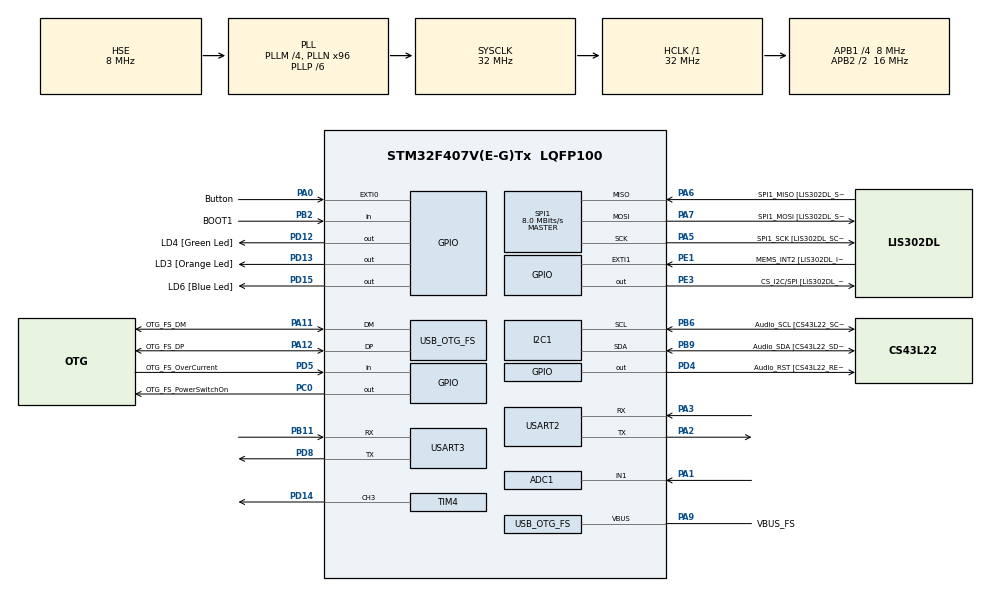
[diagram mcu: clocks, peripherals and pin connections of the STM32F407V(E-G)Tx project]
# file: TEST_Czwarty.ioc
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ADC1.Channel-0\#ChannelRegularConversion=ADC_CHANNEL_1
ADC1.ContinuousConvMode=DISABLE
ADC1.ExternalTrigConv=ADC_EXTERNALTRIGCONV_T3_TRGO
ADC1.NbrOfConversion=1
ADC1.NbrOfConversionFlag=1
ADC1.Rank-0\#ChannelRegularConversion=1
ADC1.SamplingTime-0\#ChannelRegularConversion=ADC_SAMPLETIME_480CYCLES
ADC1.master=1
FREERTOS.Queues01=Console_Rx,16,char,0,Dynamic,NULL,NULL
FREERTOS.Tasks01=defaultTask,0,128,StartDefaultTask,Default,NULL,Dynamic,NULL,NULL;Console_service,-2,256,Console_service_start,Default,NULL,Dynamic,NULL,NULL;ADC_service,0,256,ADC_service_start,Default,NULL,Dynamic,NULL,NULL
Mcu.Family=STM32F4
Mcu.Name=STM32F407V(E-G)Tx
Mcu.Package=LQFP100
NVIC.ADC_IRQn=true\:5\:0\:false\:false\:true\:true\:true\:true
NVIC.EXTI0_IRQn=true\:5\:0\:false\:false\:true\:true\:true\:true
NVIC.OTG_FS_IRQn=true\:5\:0\:false\:false\:true\:true\:true\:true
NVIC.PriorityGroup=NVIC_PRIORITYGROUP_4
NVIC.RCC_IRQn=true\:5\:0\:false\:false\:true\:true\:true\:false
NVIC.TIM3_IRQn=true\:5\:0\:false\:false\:true\:true\:true\:true
NVIC.TIM4_IRQn=true\:5\:0\:false\:false\:true\:true\:true\:true
NVIC.USART2_IRQn=true\:5\:0\:false\:false\:true\:true\:true\:true
NVIC.USART3_IRQn=true\:5\:0\:false\:false\:true\:true\:true\:true
PA0-WKUP.GPIO_Label=Button
PA0-WKUP.Signal=GPXTI0
PA1.Signal=ADCx_IN1
PA10.GPIO_Label=OTG_FS_ID
PA10.GPIO_Mode=GPIO_MODE_AF_PP
PA10.GPIO_PuPd=GPIO_NOPULL
PA10.GPIO_Speed=GPIO_SPEED_FREQ_LOW
PA10.Signal=USB_OTG_FS_ID
PA11.GPIO_Label=OTG_FS_DM
PA11.GPIO_Mode=GPIO_MODE_AF_PP
PA11.GPIO_PuPd=GPIO_NOPULL
PA11.GPIO_Speed=GPIO_SPEED_FREQ_LOW
PA11.Mode=Device_Only
PA11.Signal=USB_OTG_FS_DM
PA12.GPIO_Label=OTG_FS_DP
PA12.GPIO_Mode=GPIO_MODE_AF_PP
PA12.GPIO_PuPd=GPIO_NOPULL
PA12.GPIO_Speed=GPIO_SPEED_FREQ_LOW
PA12.Mode=Device_Only
PA12.Signal=USB_OTG_FS_DP
PA13.GPIO_Label=SWDIO
PA13.Mode=Serial_Wire
PA13.Signal=SYS_JTMS-SWDIO
PA14.GPIO_Label=SWCLK
PA14.Mode=Serial_Wire
PA14.Signal=SYS_JTCK-SWCLK
PA2.Mode=Asynchronous
PA2.Signal=USART2_TX
PA3.Mode=Asynchronous
PA3.Signal=USART2_RX
PA4.GPIO_Label=I2S3_WS [CS43L22_LRCK]
PA4.GPIO_Mode=GPIO_MODE_AF_PP
PA4.GPIO_PuPd=GPIO_NOPULL
PA4.GPIO_Speed=GPIO_SPEED_FREQ_LOW
PA4.Signal=I2S3_WS
PA5.GPIO_Label=SPI1_SCK [LIS302DL_SCL/SPC]
PA5.GPIO_Mode=GPIO_MODE_AF_PP
PA5.GPIO_PuPd=GPIO_NOPULL
PA5.GPIO_Speed=GPIO_SPEED_FREQ_LOW
PA5.Mode=Full_Duplex_Master
PA5.Signal=SPI1_SCK
PA6.GPIO_Label=SPI1_MISO [LIS302DL_SDO]
PA6.GPIO_Mode=GPIO_MODE_AF_PP
PA6.GPIO_PuPd=GPIO_NOPULL
PA6.GPIO_Speed=GPIO_SPEED_FREQ_LOW
PA6.Mode=Full_Duplex_Master
PA6.Signal=SPI1_MISO
PA7.GPIO_Label=SPI1_MOSI [LIS302DL_SDA/SDI/SDO]
PA7.GPIO_Mode=GPIO_MODE_AF_PP
PA7.GPIO_PuPd=GPIO_NOPULL
PA7.GPIO_Speed=GPIO_SPEED_FREQ_LOW
PA7.Mode=Full_Duplex_Master
PA7.Signal=SPI1_MOSI
PA9.GPIO_Label=VBUS_FS
PA9.GPIO_Mode=GPIO_MODE_INPUT
PA9.GPIO_PuPd=GPIO_NOPULL
PA9.Mode=Activate_VBUS
PA9.Signal=USB_OTG_FS_VBUS
PB10.GPIO_Label=CLK_IN [MP45DT02_CLK]
PB10.GPIO_Mode=GPIO_MODE_AF_PP
PB10.GPIO_PuPd=GPIO_NOPULL
PB10.GPIO_Speed=GPIO_SPEED_FREQ_LOW
PB10.Signal=I2S2_CK
PB11.Mode=Asynchronous
PB11.Signal=USART3_RX
PB2.GPIO_Label=BOOT1
PB2.GPIO_Mode=GPIO_MODE_INPUT
PB2.GPIO_PuPd=GPIO_NOPULL
PB2.Signal=GPIO_Input
PB3.GPIO_Label=SWO
PB3.Signal=SYS_JTDO-SWO
PB6.GPIO_Label=Audio_SCL [CS43L22_SCL]
PB6.GPIO_Mode=GPIO_MODE_AF_OD
PB6.GPIO_PuPd=GPIO_NOPULL
PB6.GPIO_Speed=GPIO_SPEED_FREQ_LOW
PB6.Mode=I2C
PB6.Signal=I2C1_SCL
PB9.GPIO_Label=Audio_SDA [CS43L22_SDA]
PB9.GPIO_Mode=GPIO_MODE_AF_OD
PB9.GPIO_PuPd=GPIO_NOPULL
PB9.GPIO_Speed=GPIO_SPEED_FREQ_LOW
PB9.Mode=I2C
PB9.Signal=I2C1_SDA
PC0.GPIO_Label=OTG_FS_PowerSwitchOn
PC0.GPIO_PuPd=GPIO_NOPULL
PC0.GPIO_Speed=GPIO_SPEED_FREQ_LOW
PC0.PinState=GPIO_PIN_SET
PC0.Signal=GPIO_Output
PC10.GPIO_Label=I2S3_SCK [CS43L22_SCLK]
PC10.GPIO_Mode=GPIO_MODE_AF_PP
PC10.GPIO_PuPd=GPIO_NOPULL
PC10.GPIO_Speed=GPIO_SPEED_FREQ_LOW
PC10.Signal=I2S3_CK
PC12.GPIO_Label=I2S3_SD [CS43L22_SDIN]
PC12.GPIO_Mode=GPIO_MODE_AF_PP
PC12.GPIO_PuPd=GPIO_NOPULL
PC12.GPIO_Speed=GPIO_SPEED_FREQ_LOW
PC12.Signal=I2S3_SD
PC14-OSC32_IN.GPIO_Label=PC14-OSC32_IN
PC14-OSC32_IN.Signal=RCC_OSC32_IN
PC15-OSC32_OUT.GPIO_Label=PC15-OSC32_OUT
PC15-OSC32_OUT.Signal=RCC_OSC32_OUT
PC3.GPIO_Label=PDM_OUT [MP45DT02_DOUT]
PC3.GPIO_Mode=GPIO_MODE_AF_PP
PC3.GPIO_PuPd=GPIO_NOPULL
PC3.GPIO_Speed=GPIO_SPEED_FREQ_LOW
PC3.Signal=I2S2_SD
PC7.GPIO_Label=I2S3_MCK [CS43L22_MCLK]
PC7.GPIO_Mode=GPIO_MODE_AF_PP
PC7.GPIO_PuPd=GPIO_NOPULL
PC7.GPIO_Speed=GPIO_SPEED_FREQ_LOW
PC7.Signal=I2S3_MCK
PD12.GPIO_Label=LD4 [Green Led]
PD12.GPIO_PuPd=GPIO_NOPULL
PD12.GPIO_Speed=GPIO_SPEED_FREQ_LOW
PD12.Signal=GPIO_Output
PD13.GPIO_Label=LD3 [Orange Led]
PD13.GPIO_PuPd=GPIO_NOPULL
PD13.GPIO_Speed=GPIO_SPEED_FREQ_LOW
PD13.Signal=GPIO_Output
PD14.Signal=S_TIM4_CH3
PD15.GPIO_Label=LD6 [Blue Led]
PD15.GPIO_PuPd=GPIO_NOPULL
PD15.GPIO_Speed=GPIO_SPEED_FREQ_LOW
PD15.Signal=GPIO_Output
PD4.GPIO_Label=Audio_RST [CS43L22_RESET]
PD4.GPIO_PuPd=GPIO_NOPULL
PD4.GPIO_Speed=GPIO_SPEED_FREQ_LOW
PD4.Signal=GPIO_Output
PD5.GPIO_Label=OTG_FS_OverCurrent
PD5.GPIO_Mode=GPIO_MODE_INPUT
PD5.GPIO_PuPd=GPIO_NOPULL
PD5.Signal=GPIO_Input
PD8.Mode=Asynchronous
PD8.Signal=USART3_TX
PE1.GPIO_Label=MEMS_INT2 [LIS302DL_INT2]
PE1.GPIO_ModeDefaultEXTI=GPIO_MODE_EVT_RISING
PE1.GPIO_PuPd=GPIO_NOPULL
PE1.Signal=GPXTI1
PE3.GPIO_Label=CS_I2C/SPI [LIS302DL_CS_I2C/SPI]
PE3.GPIO_PuPd=GPIO_NOPULL
PE3.GPIO_Speed=GPIO_SPEED_FREQ_LOW
PE3.Signal=GPIO_Output
PH0-OSC_IN.GPIO_Label=PH0-OSC_IN
PH0-OSC_IN.Mode=HSE-External-Oscillator
PH0-OSC_IN.Signal=RCC_OSC_IN
PH1-OSC_OUT.GPIO_Label=PH1-OSC_OUT
PH1-OSC_OUT.Mode=HSE-External-Oscillator
PH1-OSC_OUT.Signal=RCC_OSC_OUT
ProjectManager.HeapSize=0x200
ProjectManager.StackSize=0x400
ProjectManager.TargetToolchain=STM32CubeIDE
RCC.48MHZClocksFreq_Value=48000000
RCC.AHBFreq_Value=32000000
RCC.APB1CLKDivider=RCC_HCLK_DIV4
RCC.APB1Freq_Value=8000000
RCC.APB1TimFreq_Value=16000000
RCC.APB2CLKDivider=RCC_HCLK_DIV2
RCC.APB2Freq_Value=16000000
RCC.APB2TimFreq_Value=32000000
RCC.CortexFreq_Value=32000000
RCC.HCLKFreq_Value=32000000
RCC.HSE_VALUE=8000000
RCC.HSI_VALUE=16000000
RCC.LSE_VALUE=32768
RCC.PLLI2SN=50
RCC.PLLM=4
RCC.PLLN=96
RCC.PLLP=RCC_PLLP_DIV6
RCC.SYSCLKFreq_VALUE=32000000
RCC.SYSCLKSource=RCC_SYSCLKSOURCE_PLLCLK
RCC.VCOOutputFreq_Value=192000000
SH.ADCx_IN1.0=ADC1_IN1,IN1
SH.S_TIM4_CH3.0=TIM4_CH3,PWM Generation3 CH3
SPI1.BaudRatePrescaler-Full_Duplex_Master=SPI_BAUDRATEPRESCALER_2
SPI1.CalculateBaudRate=8.0 MBits/s
SPI1.CalculateBaudRate-Full_Duplex_Master=42.0 MBits/s
SPI1.Direction=SPI_DIRECTION_2LINES
SPI1.Mode=SPI_MODE_MASTER
SPI1.Mode-Full_Duplex_Master=SPI_MODE_MASTER
SPI1.VirtualType=VM_MASTER
TIM3.Period=16
TIM3.Prescaler=99
TIM3.TIM_MasterOutputTrigger=TIM_TRGO_OC1
TIM4.Channel-PWM\ Generation3\ CH3=TIM_CHANNEL_3
TIM4.Period=100
TIM4.Prescaler=16
USART2.VirtualMode=VM_ASYNC
USART3.VirtualMode=VM_ASYNC
USB_DEVICE.CLASS_NAME_FS=CDC
USB_DEVICE.VirtualMode-CDC_FS=Cdc
USB_DEVICE.VirtualModeFS=Cdc_FS
USB_OTG_FS.VirtualMode=Device_Only
VP_FREERTOS_VS_CMSIS_V1.Mode=CMSIS_V1
VP_TIM3_VS_ClockSourceINT.Mode=Internal
VP_TIM4_VS_ClockSourceINT.Mode=Internal
VP_USB_DEVICE_VS_USB_DEVICE_CDC_FS.Mode=CDC_FS
board=STM32F4DISCOVERY

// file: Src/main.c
/* USER CODE BEGIN Header */
/**
  ******************************************************************************
  * @file           : main.c
  * @brief          : Main program body
  ******************************************************************************
  * @attention
  *
  * <h2><center>&copy; Copyright (c) 2019 STMicroelectronics.
  * All rights reserved.</center></h2>
  *
  * This software component is licensed by ST under Ultimate Liberty license
  * SLA0044, the "License"; You may not use this file except in compliance with
  * the License. You may obtain a copy of the License at:
  *                             www.st.com/SLA0044
  *
  ******************************************************************************
  */
/* USER CODE END Header */

#include "main.h"
#include "cmsis_os.h"
#include "usb_device.h"

/* USER CODE BEGIN Includes */

#include "usbd_cdc_if.h" // Plik bedacy interfejsem uzytkownika do kontrolera USB
#include "string.h"
#include "queue.h"

/* USER CODE END Includes */

ADC_HandleTypeDef hadc1;

I2C_HandleTypeDef hi2c1;

SPI_HandleTypeDef hspi1;

TIM_HandleTypeDef htim3;
TIM_HandleTypeDef htim4;

UART_HandleTypeDef huart2;
UART_HandleTypeDef huart3;

osThreadId defaultTaskHandle;
osThreadId Console_serviceHandle;
osThreadId Diode_ToggleHandle;
osMessageQId Console_RxHandle;

/* USER CODE BEGIN PV */
/* Private variables ---------------------------------------------------------*/

uint8_t MessageCounter = 0; // Licznik wyslanych wiadomosci
uint16_t MessageLength = 0; // Zawiera dlugosc wysylanej wiadomosci
uint8_t ReceivedData; // Tablica przechowujaca odebrane dane
//uint32_t ADC_Value = 0 ;  //Wartosc z przetwornika ADC1
//float Wynik_ADC = 0;	//Wartosc przeliczona na napiecie
//float Voltage_Limit = 2.96;  //Napiecie maskymalne ADC
//uint16_t ADC_Bits = 4096;   //Zakres przetwornika
uint32_t PWM_Control;    //Skala przeliczona z ADC
uint8_t cnt;

/* USER CODE END PV */

void SystemClock_Config(void);
static void MX_GPIO_Init(void);
static void MX_I2C1_Init(void);
static void MX_SPI1_Init(void);
static void MX_USART2_UART_Init(void);
static void MX_ADC1_Init(void);
static void MX_TIM4_Init(void);
static void MX_TIM3_Init(void);
static void MX_USART3_UART_Init(void);
void StartDefaultTask(void const * argument);
void Console_service_start(void const * argument);
void Diode_Toggle_start(void const * argument);

/* USER CODE BEGIN PFP */
/* Private function prototypes -----------------------------------------------*/

extern void initialise_monitor_handles(void);  // inicjalizacja semi-hostingu

void UART_Class_RC(uint8_t Data_RC);
void UART_Class_RUN();
void ADC_Transmit(uint32_t ADC_Value);

// Przerwanie_ADC - start pomiaru za pomoca Timera 3 - 100Hz
 void HAL_ADC_ConvCpltCallback(ADC_HandleTypeDef *hadc1) {

	ADC_Transmit(HAL_ADC_GetValue(hadc1));

	// Wynik_ADC = (((float)ADC_Value/ADC_Bits)*Voltage_Limit); //skalowanie w zakresie 0 - 3V
	 //PWM_Control = ((102*ADC_Value)/ADC_Bits); //zmiana wypelnienia w zakresie od 0 - 100 %

 }

 void HAL_UART_RxCpltCallback(UART_HandleTypeDef *huart) {

	 UART_Class_RC(ReceivedData);
	 HAL_UART_Receive_IT(&huart3, &ReceivedData, 1);

 }

/* USER CODE END PFP */

int main(void)
{

  /* MCU Configuration--------------------------------------------------------*/

  /* Reset of all peripherals, Initializes the Flash interface and the Systick. */
  HAL_Init();

  /* Configure the system clock */
  SystemClock_Config();

  /* Initialize all configured peripherals */
  MX_GPIO_Init();
  MX_I2C1_Init();
  MX_SPI1_Init();
  MX_USART2_UART_Init();
  MX_ADC1_Init();
  MX_TIM4_Init();
  MX_TIM3_Init();
  MX_USART3_UART_Init();
  /* USER CODE BEGIN 2 */

 initialise_monitor_handles();

 HAL_TIM_Base_Start_IT(&htim3);

 HAL_ADC_Start_IT(&hadc1);

 HAL_TIM_PWM_Start(&htim4, TIM_CHANNEL_3);

 HAL_UART_Receive_IT(&huart3, &ReceivedData, 1);

  /* USER CODE END 2 */

  /* Create the queue(s) */
  /* definition and creation of Console_Rx */

  /* Create the thread(s) */
  /* definition and creation of defaultTask */
  osThreadDef(defaultTask, StartDefaultTask, osPriorityNormal, 0, 128);
  defaultTaskHandle = osThreadCreate(osThread(defaultTask), NULL);

  /* definition and creation of Console_service */
  osThreadDef(Console_service, UART_Class_RUN, osPriorityLow, 0, 256);
  Console_serviceHandle = osThreadCreate(osThread(Console_service), NULL);

  /* definition and creation of Diode_Toggle */
  osThreadDef(Diode_Toggle, Diode_Toggle_start, osPriorityIdle, 0, 256);
  Diode_ToggleHandle = osThreadCreate(osThread(Diode_Toggle), NULL);

  /* Start scheduler */
  osKernelStart();

  /* We should never get here as control is now taken by the scheduler */

  /* Infinite loop */
	while (1) {

    /* USER CODE BEGIN 3 */

		htim4.Instance -> CCR3 = PWM_Control;

		HAL_Delay(100);

	}
  /* USER CODE END 3 */
}

void SystemClock_Config(void)
{
  RCC_OscInitTypeDef RCC_OscInitStruct = {0};
  RCC_ClkInitTypeDef RCC_ClkInitStruct = {0};

  /** Configure the main internal regulator output voltage
  */
  __HAL_RCC_PWR_CLK_ENABLE();
  __HAL_PWR_VOLTAGESCALING_CONFIG(PWR_REGULATOR_VOLTAGE_SCALE1);
  /** Initializes the CPU, AHB and APB busses clocks
  */
  RCC_OscInitStruct.OscillatorType = RCC_OSCILLATORTYPE_HSE;
  RCC_OscInitStruct.HSEState = RCC_HSE_ON;
  RCC_OscInitStruct.PLL.PLLState = RCC_PLL_ON;
  RCC_OscInitStruct.PLL.PLLSource = RCC_PLLSOURCE_HSE;
  RCC_OscInitStruct.PLL.PLLM = 4;
  RCC_OscInitStruct.PLL.PLLN = 96;
  RCC_OscInitStruct.PLL.PLLP = RCC_PLLP_DIV6;
  RCC_OscInitStruct.PLL.PLLQ = 4;
  if (HAL_RCC_OscConfig(&RCC_OscInitStruct) != HAL_OK)
  {
    Error_Handler();
  }
  /** Initializes the CPU, AHB and APB busses clocks
  */
  RCC_ClkInitStruct.ClockType = RCC_CLOCKTYPE_HCLK|RCC_CLOCKTYPE_SYSCLK
                              |RCC_CLOCKTYPE_PCLK1|RCC_CLOCKTYPE_PCLK2;
  RCC_ClkInitStruct.SYSCLKSource = RCC_SYSCLKSOURCE_PLLCLK;
  RCC_ClkInitStruct.AHBCLKDivider = RCC_SYSCLK_DIV1;
  RCC_ClkInitStruct.APB1CLKDivider = RCC_HCLK_DIV4;
  RCC_ClkInitStruct.APB2CLKDivider = RCC_HCLK_DIV2;

  if (HAL_RCC_ClockConfig(&RCC_ClkInitStruct, FLASH_LATENCY_1) != HAL_OK)
  {
    Error_Handler();
  }
}

static void MX_ADC1_Init(void)
{

  ADC_ChannelConfTypeDef sConfig = {0};

  /** Configure the global features of the ADC (Clock, Resolution, Data Alignment and number of conversion)
  */
  hadc1.Instance = ADC1;
  hadc1.Init.ClockPrescaler = ADC_CLOCK_SYNC_PCLK_DIV2;
  hadc1.Init.Resolution = ADC_RESOLUTION_12B;
  hadc1.Init.ScanConvMode = DISABLE;
  hadc1.Init.ContinuousConvMode = DISABLE;
  hadc1.Init.DiscontinuousConvMode = DISABLE;
  hadc1.Init.ExternalTrigConvEdge = ADC_EXTERNALTRIGCONVEDGE_RISING;
  hadc1.Init.ExternalTrigConv = ADC_EXTERNALTRIGCONV_T3_TRGO;
  hadc1.Init.DataAlign = ADC_DATAALIGN_RIGHT;
  hadc1.Init.NbrOfConversion = 1;
  hadc1.Init.DMAContinuousRequests = DISABLE;
  hadc1.Init.EOCSelection = ADC_EOC_SINGLE_CONV;
  if (HAL_ADC_Init(&hadc1) != HAL_OK)
  {
    Error_Handler();
  }
  /** Configure for the selected ADC regular channel its corresponding rank in the sequencer and its sample time.
  */
  sConfig.Channel = ADC_CHANNEL_1;
  sConfig.Rank = 1;
  sConfig.SamplingTime = ADC_SAMPLETIME_480CYCLES;
  if (HAL_ADC_ConfigChannel(&hadc1, &sConfig) != HAL_OK)
  {
    Error_Handler();
  }

}

static void MX_I2C1_Init(void)
{

  hi2c1.Instance = I2C1;
  hi2c1.Init.ClockSpeed = 100000;
  hi2c1.Init.DutyCycle = I2C_DUTYCYCLE_2;
  hi2c1.Init.OwnAddress1 = 0;
  hi2c1.Init.AddressingMode = I2C_ADDRESSINGMODE_7BIT;
  hi2c1.Init.DualAddressMode = I2C_DUALADDRESS_DISABLE;
  hi2c1.Init.OwnAddress2 = 0;
  hi2c1.Init.GeneralCallMode = I2C_GENERALCALL_DISABLE;
  hi2c1.Init.NoStretchMode = I2C_NOSTRETCH_DISABLE;
  if (HAL_I2C_Init(&hi2c1) != HAL_OK)
  {
    Error_Handler();
  }

}

static void MX_SPI1_Init(void)
{

  /* SPI1 parameter configuration*/
  hspi1.Instance = SPI1;
  hspi1.Init.Mode = SPI_MODE_MASTER;
  hspi1.Init.Direction = SPI_DIRECTION_2LINES;
  hspi1.Init.DataSize = SPI_DATASIZE_8BIT;
  hspi1.Init.CLKPolarity = SPI_POLARITY_LOW;
  hspi1.Init.CLKPhase = SPI_PHASE_1EDGE;
  hspi1.Init.NSS = SPI_NSS_SOFT;
  hspi1.Init.BaudRatePrescaler = SPI_BAUDRATEPRESCALER_2;
  hspi1.Init.FirstBit = SPI_FIRSTBIT_MSB;
  hspi1.Init.TIMode = SPI_TIMODE_DISABLE;
  hspi1.Init.CRCCalculation = SPI_CRCCALCULATION_DISABLE;
  hspi1.Init.CRCPolynomial = 10;
  if (HAL_SPI_Init(&hspi1) != HAL_OK)
  {
    Error_Handler();
  }

}

static void MX_TIM3_Init(void)
{

  TIM_ClockConfigTypeDef sClockSourceConfig = {0};
  TIM_MasterConfigTypeDef sMasterConfig = {0};

  htim3.Instance = TIM3;
  htim3.Init.Prescaler = 9999;
  htim3.Init.CounterMode = TIM_COUNTERMODE_UP;
  htim3.Init.Period = 16;
  htim3.Init.ClockDivision = TIM_CLOCKDIVISION_DIV1;
  htim3.Init.AutoReloadPreload = TIM_AUTORELOAD_PRELOAD_DISABLE;
  if (HAL_TIM_Base_Init(&htim3) != HAL_OK)
  {
    Error_Handler();
  }
  sClockSourceConfig.ClockSource = TIM_CLOCKSOURCE_INTERNAL;
  if (HAL_TIM_ConfigClockSource(&htim3, &sClockSourceConfig) != HAL_OK)
  {
    Error_Handler();
  }
  sMasterConfig.MasterOutputTrigger = TIM_TRGO_OC1;
  sMasterConfig.MasterSlaveMode = TIM_MASTERSLAVEMODE_DISABLE;
  if (HAL_TIMEx_MasterConfigSynchronization(&htim3, &sMasterConfig) != HAL_OK)
  {
    Error_Handler();
  }

}

static void MX_TIM4_Init(void)
{

  TIM_ClockConfigTypeDef sClockSourceConfig = {0};
  TIM_MasterConfigTypeDef sMasterConfig = {0};
  TIM_OC_InitTypeDef sConfigOC = {0};

  htim4.Instance = TIM4;
  htim4.Init.Prescaler = 16;
  htim4.Init.CounterMode = TIM_COUNTERMODE_UP;
  htim4.Init.Period = 100;
  htim4.Init.ClockDivision = TIM_CLOCKDIVISION_DIV1;
  htim4.Init.AutoReloadPreload = TIM_AUTORELOAD_PRELOAD_DISABLE;
  if (HAL_TIM_Base_Init(&htim4) != HAL_OK)
  {
    Error_Handler();
  }
  sClockSourceConfig.ClockSource = TIM_CLOCKSOURCE_INTERNAL;
  if (HAL_TIM_ConfigClockSource(&htim4, &sClockSourceConfig) != HAL_OK)
  {
    Error_Handler();
  }
  if (HAL_TIM_PWM_Init(&htim4) != HAL_OK)
  {
    Error_Handler();
  }
  sMasterConfig.MasterOutputTrigger = TIM_TRGO_RESET;
  sMasterConfig.MasterSlaveMode = TIM_MASTERSLAVEMODE_DISABLE;
  if (HAL_TIMEx_MasterConfigSynchronization(&htim4, &sMasterConfig) != HAL_OK)
  {
    Error_Handler();
  }
  sConfigOC.OCMode = TIM_OCMODE_PWM1;
  sConfigOC.Pulse = 0;
  sConfigOC.OCPolarity = TIM_OCPOLARITY_HIGH;
  sConfigOC.OCFastMode = TIM_OCFAST_DISABLE;
  if (HAL_TIM_PWM_ConfigChannel(&htim4, &sConfigOC, TIM_CHANNEL_3) != HAL_OK)
  {
    Error_Handler();
  }
  HAL_TIM_MspPostInit(&htim4);

}

static void MX_USART2_UART_Init(void)
{

  huart2.Instance = USART2;
  huart2.Init.BaudRate = 115200;
  huart2.Init.WordLength = UART_WORDLENGTH_8B;
  huart2.Init.StopBits = UART_STOPBITS_1;
  huart2.Init.Parity = UART_PARITY_NONE;
  huart2.Init.Mode = UART_MODE_TX_RX;
  huart2.Init.HwFlowCtl = UART_HWCONTROL_NONE;
  huart2.Init.OverSampling = UART_OVERSAMPLING_16;
  if (HAL_UART_Init(&huart2) != HAL_OK)
  {
    Error_Handler();
  }

}

static void MX_USART3_UART_Init(void)
{

  huart3.Instance = USART3;
  huart3.Init.BaudRate = 115200;
  huart3.Init.WordLength = UART_WORDLENGTH_8B;
  huart3.Init.StopBits = UART_STOPBITS_1;
  huart3.Init.Parity = UART_PARITY_NONE;
  huart3.Init.Mode = UART_MODE_TX_RX;
  huart3.Init.HwFlowCtl = UART_HWCONTROL_NONE;
  huart3.Init.OverSampling = UART_OVERSAMPLING_16;
  if (HAL_UART_Init(&huart3) != HAL_OK)
  {
    Error_Handler();
  }

}

static void MX_GPIO_Init(void)
{
  GPIO_InitTypeDef GPIO_InitStruct = {0};

  /* GPIO Ports Clock Enable */
  __HAL_RCC_GPIOE_CLK_ENABLE();
  __HAL_RCC_GPIOC_CLK_ENABLE();
  __HAL_RCC_GPIOH_CLK_ENABLE();
  __HAL_RCC_GPIOA_CLK_ENABLE();
  __HAL_RCC_GPIOB_CLK_ENABLE();
  __HAL_RCC_GPIOD_CLK_ENABLE();

  /*Configure GPIO pin Output Level */
  HAL_GPIO_WritePin(CS_I2C_SPI_GPIO_Port, CS_I2C_SPI_Pin, GPIO_PIN_RESET);

  /*Configure GPIO pin Output Level */
  HAL_GPIO_WritePin(OTG_FS_PowerSwitchOn_GPIO_Port, OTG_FS_PowerSwitchOn_Pin, GPIO_PIN_SET);

  /*Configure GPIO pin Output Level */
  HAL_GPIO_WritePin(GPIOD, LD4_Pin|LD3_Pin|LD6_Pin|Audio_RST_Pin, GPIO_PIN_RESET);

  /*Configure GPIO pin : CS_I2C_SPI_Pin */
  GPIO_InitStruct.Pin = CS_I2C_SPI_Pin;
  GPIO_InitStruct.Mode = GPIO_MODE_OUTPUT_PP;
  GPIO_InitStruct.Pull = GPIO_NOPULL;
  GPIO_InitStruct.Speed = GPIO_SPEED_FREQ_LOW;
  HAL_GPIO_Init(CS_I2C_SPI_GPIO_Port, &GPIO_InitStruct);

  /*Configure GPIO pin : OTG_FS_PowerSwitchOn_Pin */
  GPIO_InitStruct.Pin = OTG_FS_PowerSwitchOn_Pin;
  GPIO_InitStruct.Mode = GPIO_MODE_OUTPUT_PP;
  GPIO_InitStruct.Pull = GPIO_NOPULL;
  GPIO_InitStruct.Speed = GPIO_SPEED_FREQ_LOW;
  HAL_GPIO_Init(OTG_FS_PowerSwitchOn_GPIO_Port, &GPIO_InitStruct);

  /*Configure GPIO pin : PDM_OUT_Pin */
  GPIO_InitStruct.Pin = PDM_OUT_Pin;
  GPIO_InitStruct.Mode = GPIO_MODE_AF_PP;
  GPIO_InitStruct.Pull = GPIO_NOPULL;
  GPIO_InitStruct.Speed = GPIO_SPEED_FREQ_LOW;
  GPIO_InitStruct.Alternate = GPIO_AF5_SPI2;
  HAL_GPIO_Init(PDM_OUT_GPIO_Port, &GPIO_InitStruct);

  /*Configure GPIO pin : Button_Pin */
  GPIO_InitStruct.Pin = Button_Pin;
  GPIO_InitStruct.Mode = GPIO_MODE_IT_RISING;
  GPIO_InitStruct.Pull = GPIO_NOPULL;
  HAL_GPIO_Init(Button_GPIO_Port, &GPIO_InitStruct);

  /*Configure GPIO pin : I2S3_WS_Pin */
  GPIO_InitStruct.Pin = I2S3_WS_Pin;
  GPIO_InitStruct.Mode = GPIO_MODE_AF_PP;
  GPIO_InitStruct.Pull = GPIO_NOPULL;
  GPIO_InitStruct.Speed = GPIO_SPEED_FREQ_LOW;
  GPIO_InitStruct.Alternate = GPIO_AF6_SPI3;
  HAL_GPIO_Init(I2S3_WS_GPIO_Port, &GPIO_InitStruct);

  /*Configure GPIO pin : BOOT1_Pin */
  GPIO_InitStruct.Pin = BOOT1_Pin;
  GPIO_InitStruct.Mode = GPIO_MODE_INPUT;
  GPIO_InitStruct.Pull = GPIO_NOPULL;
  HAL_GPIO_Init(BOOT1_GPIO_Port, &GPIO_InitStruct);

  /*Configure GPIO pin : CLK_IN_Pin */
  GPIO_InitStruct.Pin = CLK_IN_Pin;
  GPIO_InitStruct.Mode = GPIO_MODE_AF_PP;
  GPIO_InitStruct.Pull = GPIO_NOPULL;
  GPIO_InitStruct.Speed = GPIO_SPEED_FREQ_LOW;
  GPIO_InitStruct.Alternate = GPIO_AF5_SPI2;
  HAL_GPIO_Init(CLK_IN_GPIO_Port, &GPIO_InitStruct);

  /*Configure GPIO pins : LD4_Pin LD3_Pin LD6_Pin Audio_RST_Pin */
  GPIO_InitStruct.Pin = LD4_Pin|LD3_Pin|LD6_Pin|Audio_RST_Pin;
  GPIO_InitStruct.Mode = GPIO_MODE_OUTPUT_PP;
  GPIO_InitStruct.Pull = GPIO_NOPULL;
  GPIO_InitStruct.Speed = GPIO_SPEED_FREQ_LOW;
  HAL_GPIO_Init(GPIOD, &GPIO_InitStruct);

  /*Configure GPIO pins : I2S3_MCK_Pin I2S3_SCK_Pin I2S3_SD_Pin */
  GPIO_InitStruct.Pin = I2S3_MCK_Pin|I2S3_SCK_Pin|I2S3_SD_Pin;
  GPIO_InitStruct.Mode = GPIO_MODE_AF_PP;
  GPIO_InitStruct.Pull = GPIO_NOPULL;
  GPIO_InitStruct.Speed = GPIO_SPEED_FREQ_LOW;
  GPIO_InitStruct.Alternate = GPIO_AF6_SPI3;
  HAL_GPIO_Init(GPIOC, &GPIO_InitStruct);

  /*Configure GPIO pin : OTG_FS_OverCurrent_Pin */
  GPIO_InitStruct.Pin = OTG_FS_OverCurrent_Pin;
  GPIO_InitStruct.Mode = GPIO_MODE_INPUT;
  GPIO_InitStruct.Pull = GPIO_NOPULL;
  HAL_GPIO_Init(OTG_FS_OverCurrent_GPIO_Port, &GPIO_InitStruct);

  /*Configure GPIO pin : MEMS_INT2_Pin */
  GPIO_InitStruct.Pin = MEMS_INT2_Pin;
  GPIO_InitStruct.Mode = GPIO_MODE_EVT_RISING;
  GPIO_InitStruct.Pull = GPIO_NOPULL;
  HAL_GPIO_Init(MEMS_INT2_GPIO_Port, &GPIO_InitStruct);

  /* EXTI interrupt init*/
  HAL_NVIC_SetPriority(EXTI0_IRQn, 5, 0);
  HAL_NVIC_EnableIRQ(EXTI0_IRQn);

}

void StartDefaultTask(void const * argument)
{
  /* init code for USB_DEVICE */
  MX_USB_DEVICE_Init();

  /* USER CODE BEGIN 5 */
  /* Infinite loop */
  for(;;)
  {
    osDelay(100);
  }
  /* USER CODE END 5 */
}

void Console_service_start(void const * argument)
{

  /* USER CODE BEGIN Console_service_start */
  /* Infinite loop */
  for(;;)
  {

	  vTaskDelay(100);

  }
  /* USER CODE END Console_service_start */
}

void Diode_Toggle_start(void const * argument)
{

  /* USER CODE BEGIN Diode_Toggle_start */

  /* Infinite loop */
  for(;;)
  {

	vTaskDelay(100);

  }
  /* USER CODE END Diode_Toggle_start */
}

void Error_Handler(void)
{
}

/************************ (C) COPYRIGHT STMicroelectronics *****END OF FILE****/
